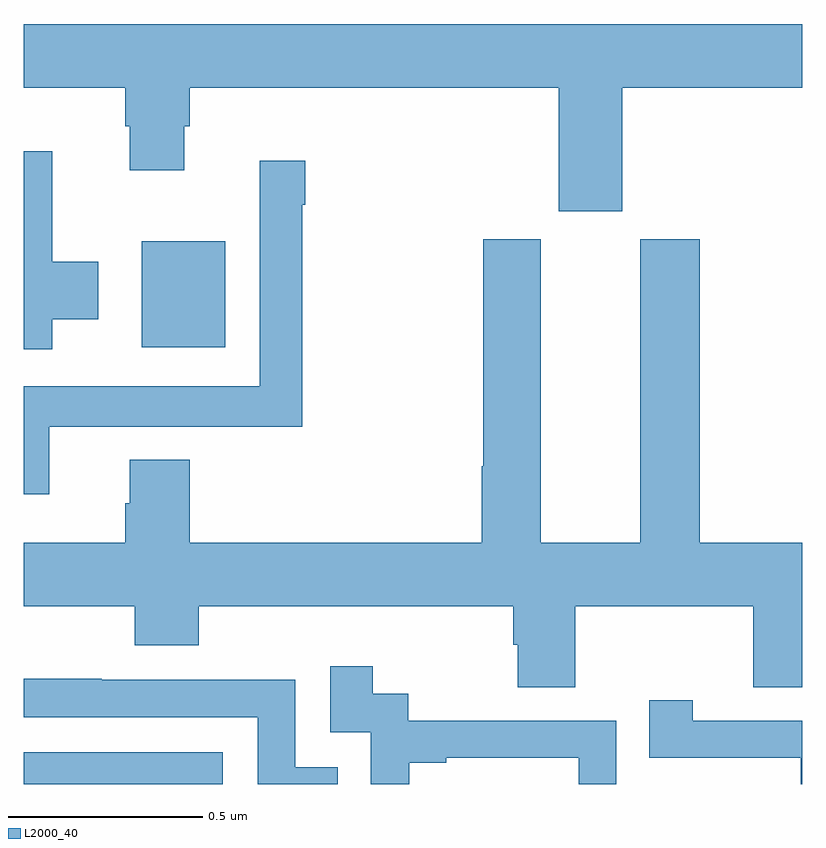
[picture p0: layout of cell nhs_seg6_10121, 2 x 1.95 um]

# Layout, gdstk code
import gdstk
lib = gdstk.Library(unit=1e-6, precision=1e-09)
def R(c, l, rs):  # rectangles x0, y0, x1, y1
    for r in rs: c.add(gdstk.rectangle(r[:2], r[2:], *l))
def P(c, l, *ps):  # polygons
    for p in ps: c.add(gdstk.Polygon(p, *l))
L2000_40 = (2000, 40)

nhs_seg6_10121 = lib.new_cell('nhs_seg6_10121')
R(nhs_seg6_10121, L2000_40, [(242,993.5,242.511,993.582), (242.303,994.622,242.518,994.894)])
P(nhs_seg6_10121, L2000_40, [(243.538,995.288),(244,995.288),(244,995.452),(242,995.452),(242,995.288),(242.261,995.288),(242.261,995.19),(242.273,995.19),(242.273,995.076),(242.413,995.076),(242.413,995.19),(242.426,995.19),(242.426,995.288),(243.374,995.288),(243.374,994.971),(243.538,994.971)],
  [(242.074,994.694),(242.191,994.694),(242.191,994.842),(242.074,994.842),(242.074,995.125),(242,995.125),(242,994.617),(242.074,994.617)],
  [(242.066,994.418),(242.716,994.418),(242.716,994.988),(242.723,994.988),(242.723,995.101),(242.607,995.101),(242.607,994.522),(242,994.522),(242,994.244),(242.066,994.244)],
  [(243.181,994.316),(243.176,994.316),(243.176,994.12),(242.426,994.12),(242.426,994.333),(242.273,994.333),(242.273,994.221),(242.261,994.221),(242.261,994.12),(242,994.12),(242,993.956),(242.285,993.956),(242.285,993.857),(242.45,993.857),(242.45,993.956),(243.257,993.956),(243.257,993.858),(243.269,993.858),(243.269,993.748),(243.417,993.748),(243.417,993.956),(243.874,993.956),(243.874,993.748),(244,993.748),(244,994.12),(243.737,994.12),(243.737,994.899),(243.584,994.899),(243.584,994.12),(243.328,994.12),(243.328,994.899),(243.181,994.899)],
  [(242.99,993.555),(243.085,993.555),(243.085,993.567),(243.426,993.567),(243.426,993.5),(243.522,993.5),(243.522,993.663),(242.988,993.663),(242.988,993.732),(242.896,993.732),(242.896,993.802),(242.787,993.802),(242.787,993.633),(242.892,993.633),(242.892,993.5),(242.99,993.5)],
  [(242.807,993.543),(242.697,993.543),(242.697,993.768),(242.201,993.768),(242.201,993.77),(242,993.77),(242,993.672),(242.601,993.672),(242.601,993.5),(242.807,993.5)],
  [(244,993.663),(243.718,993.663),(243.718,993.715),(243.607,993.715),(243.607,993.567),(243.996,993.567),(243.996,993.5),(244,993.5)])

lib.write_gds('nhs_seg6_10121.gds')
